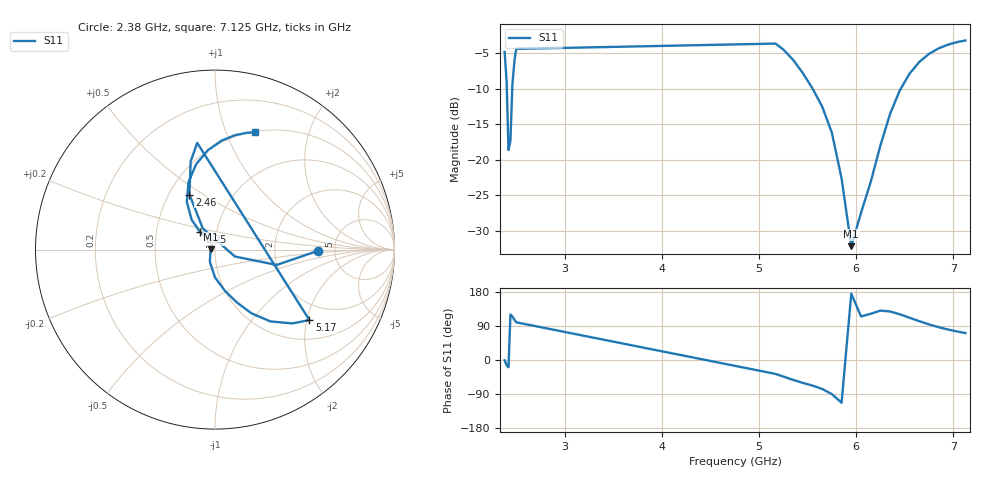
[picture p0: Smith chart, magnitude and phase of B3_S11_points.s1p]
! Generated by Hertzon (EMerge FEM)
# HZ S RI R 50
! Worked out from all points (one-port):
!   28 points, 2.38 GHz to 7.125 GHz, reference 50 ohm
!   lowest |S11| = -32.1 dB at 5.95 GHz (marker M1), VSWR 1.05, Z = 47.6 + j0.204 ohm
!   |S11| at or under -10 dB: 2.403 GHz to 2.459 GHz (55.57 MHz wide, 2.29 % of centre); 5.552 GHz to 6.459 GHz (907.3 MHz wide, 15.1 % of centre)
!   S11 on the Smith chart (normalised r, x): 2.38 GHz: 3.69, -0.08; 2.46 GHz: 0.63, +0.44; 5.17 GHz: 1.50, -2.07; 6.25 GHz: 0.83, +0.16; 7.125 GHz: 0.51, +1.27
2.38e9  0.5735 -0.00699
2.401e9  0.3438 -0.0854
2.42e9  0.1109 -0.0385
2.44e9  -0.0679 0.1179
2.46e9  -0.1424 0.3069
2.483e9  -0.1356 0.4918
2.5e9  -0.0991 0.5945
5.17e9  0.5261 -0.3926
5.25e9  0.4312 -0.4114
5.35e9  0.3088 -0.4001
5.45e9  0.2025 -0.3546
5.55e9  0.1216 -0.2941
5.65e9  0.0558 -0.2304
5.75e9  -8.1e-05 -0.1552
5.85e9  -0.0287 -0.0683
5.95e9  -0.0247 0.00214
6.05e9  -0.0179 0.0385
6.15e9  -0.037 0.0594
6.25e9  -0.0818 0.0962
6.35e9  -0.1302 0.1662
6.45e9  -0.1568 0.2654
6.55e9  -0.148 0.3754
6.65e9  -0.105 0.476
6.75e9  -0.0389 0.5543
6.85e9  0.0365 0.6068
6.95e9  0.1105 0.6372
7.05e9  0.1781 0.651
7.125e9  0.2229 0.6535
